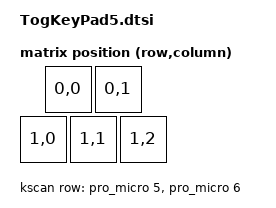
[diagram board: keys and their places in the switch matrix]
#include <physical_layouts.dtsi>
#include <dt-bindings/zmk/matrix_transform.h>

/ {
    chosen {
        zmk,physical-layout = &layout;
    };

    kscan: kscan {
        compatible = "zmk,kscan-gpio-matrix";
        diode-direction = "col2row";

        row-gpios = <&pro_micro 5 (GPIO_ACTIVE_HIGH | GPIO_PULL_DOWN)>,
                    <&pro_micro 6 (GPIO_ACTIVE_HIGH | GPIO_PULL_DOWN)>;

    };

    transform: matrix_transform {
        compatible = "zmk,matrix-transform";
        rows = <2>;
        columns = <3>;

        map = <
        //   Key 1 | Key 2
            RC(0,0) RC(0,1)
        //   Key 3 | Key 4 | Key 5
            RC(1,0) RC(1,1) RC(1,2)
        >;

    };
    
    physical_layout0: physical_layout_0 {
        compatible = "zmk,physical-layout";
        display-name = "TogKey Pad 2x3";

        kscan = <&kscan>;
        transform = <&transform>;

        keys  //                     w   h    x    y     rot    rx    ry
            = <&key_physical_attrs 100 100   50    0       0     0     0>
            , <&key_physical_attrs 100 100  150    0       0     0     0>
            , <&key_physical_attrs 100 100    0  100       0     0     0>
            , <&key_physical_attrs 100 100  100  100       0     0     0>
            , <&key_physical_attrs 100 100  200  100       0     0     0>
            ;
    };
};
